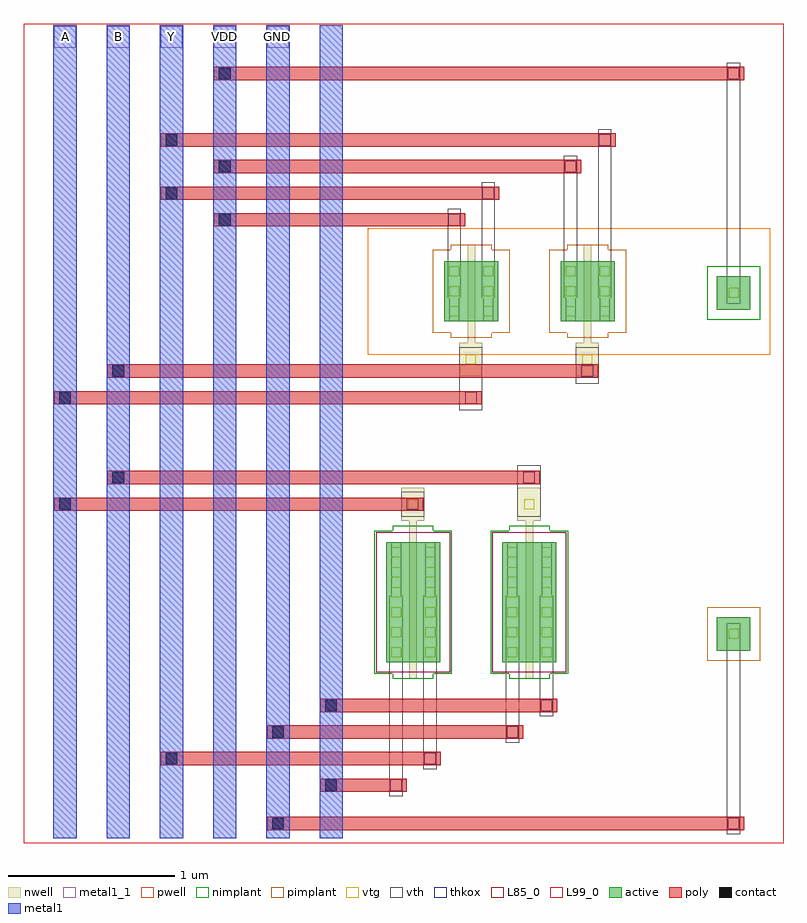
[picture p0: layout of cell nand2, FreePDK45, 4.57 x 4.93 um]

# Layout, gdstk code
import gdstk
lib = gdstk.Library(unit=1e-6, precision=5e-10)
def R(c, l, rs):  # rectangles x0, y0, x1, y1
    for r in rs: c.add(gdstk.rectangle(r[:2], r[2:], *l))
def A(c, l, x, y, w, h, nx, ny, dx, dy):  # array of equal rectangles
    R(c, l, [(x+i*dx, y+j*dy, x+i*dx+w, y+j*dy+h) for i in range(nx) for j in range(ny)])
active = (1, 0)
pwell = (2, 0)
nwell = (3, 0)
nimplant = (4, 0)
pimplant = (5, 0)
vtg = (6, 0)
vth = (7, 0)
thkox = (8, 0)
poly = (9, 0)
contact = (10, 0)
metal1 = (11, 0)
metal1_1 = (11, 1)
L85_0 = (85, 0)
L99_0 = (99, 0)

nmos1v_cdns_794040200140 = lib.new_cell('nmos1v_CDNS_794040200140')
R(nmos1v_cdns_794040200140, active, [(-0.14,0,0,0.72), (0,0,0.045,0.72), (0.045,0,0.185,0.72)])
R(nmos1v_cdns_794040200140, nwell, [(0,-0.1,0.045,-0.05), (0,-0.05,0.045,0), (0,0,0.045,0.72), (0,0.72,0.045,0.77), (0,0.77,0.045,0.82)])
R(nmos1v_cdns_794040200140, nimplant, [(-0.1,-0.1,0.145,0.82), (-0.21,-0.07,0.255,0.79)])
A(nmos1v_cdns_794040200140, vtg, -0.11, 0.03, 0.06, 0.06, 1, 6, 0, 0.12)
A(nmos1v_cdns_794040200140, vtg, 0.095, 0.03, 0.06, 0.06, 1, 6, 0, 0.12)
R(nmos1v_cdns_794040200140, vth, [(-0.11,0,-0.05,0.72), (0.095,0,0.155,0.72)])
R(nmos1v_cdns_794040200140, L85_0, [(-0.2,-0.06,0.245,0.78)])

pmos1v_cdns_794040200141 = lib.new_cell('pmos1v_CDNS_794040200141')
R(pmos1v_cdns_794040200141, active, [(-0.14,0,0,0.36), (0,0,0.045,0.36), (0.045,0,0.185,0.36)])
R(pmos1v_cdns_794040200141, pwell, [(-0.2,-0.06,0.245,0.42)])
R(pmos1v_cdns_794040200141, nwell, [(0,-0.1,0.045,-0.05), (0,-0.05,0.045,0), (0,0,0.045,0.36), (0,0.36,0.045,0.41), (0,0.41,0.045,0.46)])
R(pmos1v_cdns_794040200141, pimplant, [(-0.1,-0.1,0.145,0.46), (-0.21,-0.07,0.255,0.43)])
A(pmos1v_cdns_794040200141, vtg, -0.11, 0.03, 0.06, 0.06, 1, 3, 0, 0.12)
A(pmos1v_cdns_794040200141, vtg, 0.095, 0.03, 0.06, 0.06, 1, 3, 0, 0.12)
R(pmos1v_cdns_794040200141, vth, [(-0.11,0,-0.05,0.36), (0.095,0,0.155,0.36)])

nand2 = lib.new_cell('nand2')
R(nand2, active, [(4.17,1.16,4.37,1.36), (4.17,3.21,4.37,3.41)])
R(nand2, pwell, [(2.07,2.94,4.49,3.7)])
R(nand2, nwell, [(2.32,1.86,2.365,2.14), (3.02,1.86,3.065,2.14), (2.27,1.94,2.41,2.14), (2.97,1.94,3.11,2.14), (2.62,2.81,2.76,3.01), (2.67,2.81,2.715,3.09), (3.32,2.81,3.46,3.01), (3.37,2.81,3.415,3.09)])
R(nand2, nimplant, [(4.11,3.15,4.43,3.47)])
R(nand2, pimplant, [(4.11,1.1,4.43,1.42)])
R(nand2, vtg, [(4.24,1.23,4.3,1.29), (2.31,2.01,2.37,2.07), (3.01,2.01,3.07,2.07), (2.66,2.88,2.72,2.94), (3.36,2.88,3.42,2.94), (4.24,3.28,4.3,3.34)])
R(nand2, vth, [(4.23,0.055,4.31,0.185), (4.23,0.08,4.31,1.3), (2.2,0.285,2.28,0.415), (2.2,0.31,2.28,1.49), (2.405,0.445,2.485,0.575), (2.405,0.47,2.485,1.49), (2.9,0.605,2.98,0.735), (2.9,0.63,2.98,1.49), (3.105,0.765,3.185,0.895), (3.105,0.79,3.185,1.49), (4.23,1.195,4.31,1.325), (2.27,1.965,2.41,2.115), (2.27,1.965,2.41,2.115), (2.97,1.965,3.11,2.115), (2.27,1.97,2.41,2.11), (2.97,1.97,3.11,2.27), (2.97,2.125,3.11,2.275), (2.62,2.605,2.76,2.755), (2.62,2.61,2.76,2.98), (3.32,2.765,3.46,2.915), (3.32,2.77,3.46,2.98), (2.62,2.835,2.76,2.985), (3.32,2.835,3.46,2.985), (4.23,3.245,4.31,3.375), (4.23,3.27,4.31,4.67), (2.55,3.28,2.63,3.79), (2.755,3.28,2.835,3.95), (3.25,3.28,3.33,4.11), (3.455,3.28,3.535,4.27), (2.55,3.685,2.63,3.815), (2.755,3.845,2.835,3.975), (3.25,4.005,3.33,4.135), (3.455,4.165,3.535,4.295), (4.23,4.565,4.31,4.695)])
R(nand2, thkox, [(4.235,0.085,4.305,0.155), (2.205,0.315,2.275,0.385), (2.41,0.475,2.48,0.545), (2.905,0.635,2.975,0.705), (3.11,0.795,3.18,0.865), (2.305,2.005,2.375,2.075), (3.005,2.165,3.075,2.235), (2.655,2.645,2.725,2.715), (3.355,2.805,3.425,2.875), (2.555,3.715,2.625,3.785), (2.76,3.875,2.83,3.945), (3.255,4.035,3.325,4.105), (3.46,4.195,3.53,4.265), (4.235,4.595,4.305,4.665)])
R(nand2, poly, [(1.465,0.08,1.595,0.16), (1.49,0.08,4.31,0.16), (4.205,0.08,4.335,0.16), (1.785,0.31,1.915,0.39), (1.81,0.31,2.28,0.39), (2.175,0.31,2.305,0.39), (0.825,0.47,0.955,0.55), (0.85,0.47,2.485,0.55), (2.38,0.47,2.51,0.55), (1.465,0.63,1.595,0.71), (1.49,0.63,2.98,0.71), (2.875,0.63,3.005,0.71), (1.785,0.79,1.915,0.87), (1.81,0.79,3.185,0.87), (3.08,0.79,3.21,0.87), (0.185,2,0.315,2.08), (0.21,2,2.38,2.08), (2.275,2,2.405,2.08), (0.505,2.16,0.635,2.24), (0.53,2.16,3.08,2.24), (2.975,2.16,3.105,2.24), (0.185,2.64,0.315,2.72), (0.21,2.64,2.73,2.72), (2.625,2.64,2.755,2.72), (0.505,2.8,0.635,2.88), (0.53,2.8,3.43,2.88), (3.325,2.8,3.455,2.88), (1.145,3.71,1.275,3.79), (1.17,3.71,2.63,3.79), (2.525,3.71,2.655,3.79), (0.825,3.87,0.955,3.95), (0.85,3.87,2.835,3.95), (2.73,3.87,2.86,3.95), (1.145,4.03,1.275,4.11), (1.17,4.03,3.33,4.11), (3.225,4.03,3.355,4.11), (0.825,4.19,0.955,4.27), (0.85,4.19,3.535,4.27), (3.43,4.19,3.56,4.27), (1.145,4.59,1.275,4.67), (1.17,4.59,4.31,4.67), (4.205,4.59,4.335,4.67)])
R(nand2, contact, [(1.495,0.085,1.565,0.155), (1.815,0.315,1.885,0.385), (0.855,0.475,0.925,0.545), (1.495,0.635,1.565,0.705), (1.815,0.795,1.885,0.865), (0.215,2.005,0.285,2.075), (0.535,2.165,0.605,2.235), (0.215,2.645,0.285,2.715), (0.535,2.805,0.605,2.875), (1.175,3.715,1.245,3.785), (0.855,3.875,0.925,3.945), (1.175,4.035,1.245,4.105), (0.855,4.195,0.925,4.265), (1.175,4.595,1.245,4.665)])
A(nand2, metal1, 0.18, 0.03, 0.14, 4.89, 6, 1, 0.32, 0)
R(nand2, metal1, [(1.49,0.055,1.57,0.185), (1.81,0.285,1.89,0.415), (0.85,0.445,0.93,0.575), (1.49,0.605,1.57,0.735), (1.81,0.765,1.89,0.895), (0.21,1.975,0.29,2.105), (0.53,2.135,0.61,2.265), (0.21,2.615,0.29,2.745), (0.53,2.775,0.61,2.905), (1.17,3.685,1.25,3.815), (0.85,3.845,0.93,3.975), (1.17,4.005,1.25,4.135), (0.85,4.165,0.93,4.295), (1.17,4.565,1.25,4.695)])
A(nand2, metal1_1, 0.185, 4.785, 0.13, 0.13, 5, 1, 0.32, 0)
R(nand2, L99_0, [(0,0,4.57,4.93)])
nand2.add(gdstk.Reference(nmos1v_cdns_794040200140, (3.02,1.09)))
nand2.add(gdstk.Reference(nmos1v_cdns_794040200140, (2.32,1.09)))
nand2.add(gdstk.Reference(pmos1v_cdns_794040200141, (3.37,3.14)))
nand2.add(gdstk.Reference(pmos1v_cdns_794040200141, (2.67,3.14)))
nand2.add(gdstk.Label('GND', (1.53,4.85), layer=11, texttype=3))
nand2.add(gdstk.Label('VDD', (1.21,4.85), layer=11, texttype=3))
nand2.add(gdstk.Label('Y', (0.89,4.85), layer=11, texttype=3))
nand2.add(gdstk.Label('B', (0.57,4.85), layer=11, texttype=3))
nand2.add(gdstk.Label('A', (0.25,4.85), layer=11, texttype=3))

lib.write_gds('nand2.gds')
